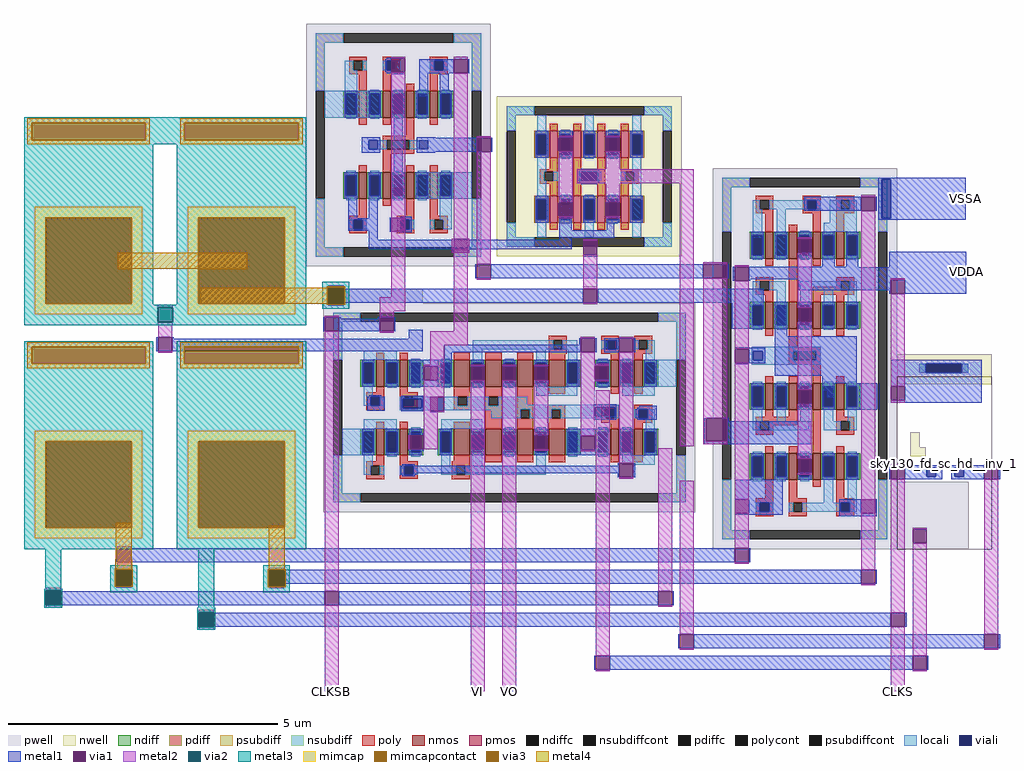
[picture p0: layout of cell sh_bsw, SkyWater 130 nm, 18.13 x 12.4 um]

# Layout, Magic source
magic
tech sky130A
magscale 1 2
<< nwell >>
rect 2591 -842 2637 -679
rect 3846 -1344 4198 -1232
rect 3894 -1578 3930 -1522
rect 3894 -1612 3952 -1578
<< pwell >>
rect 1727 -989 1795 -981
rect 2679 -989 2731 -981
rect 1727 -1041 2083 -989
rect 2679 -1041 2737 -989
rect 1727 -1049 1795 -1041
rect 1922 -1074 2000 -1041
rect 2679 -1047 2731 -1041
rect 1720 -1095 1772 -1089
rect 1714 -1147 1778 -1095
rect 1917 -1147 1981 -1095
rect 1720 -1153 1772 -1147
rect 1923 -1153 1975 -1147
rect 1837 -1223 1988 -1177
rect 2031 -1221 2083 -1142
rect 3162 -1470 3214 -1468
rect 3130 -1481 3220 -1470
rect 3130 -1482 3499 -1481
rect 3130 -1522 3526 -1482
rect 3130 -1568 3499 -1522
rect 3846 -1957 4112 -1706
<< nsubdiff >>
rect 3928 -1302 3952 -1268
rect 4086 -1302 4110 -1268
<< nsubdiffcont >>
rect 3952 -1302 4086 -1268
<< locali >>
rect 3928 -1302 3952 -1268
rect 4086 -1302 4110 -1268
<< viali >>
rect 3788 -727 3822 -583
rect 3952 -1302 4086 -1268
rect 3956 -1688 3990 -1654
rect 4059 -1688 4093 -1654
<< metal1 >>
rect 2061 -481 2284 -429
rect 2336 -481 2342 -429
rect 3776 -583 4101 -577
rect 2591 -808 2637 -679
rect 3776 -727 3788 -583
rect 3822 -727 4101 -583
rect 3776 -733 4101 -727
rect 2140 -842 2637 -808
rect 2679 -812 2731 -806
rect 2679 -870 2731 -864
rect 2278 -950 2284 -898
rect 2336 -950 3125 -898
rect 3214 -950 3220 -898
rect 3817 -909 4102 -852
rect 3480 -956 4102 -909
rect 1729 -1041 1735 -989
rect 1787 -1041 2679 -989
rect 2731 -1041 3350 -989
rect 3480 -996 3823 -956
rect 3817 -1008 3823 -996
rect 3875 -1008 4102 -956
rect 1714 -1147 1720 -1095
rect 1772 -1101 1778 -1095
rect 1917 -1101 1923 -1095
rect 1772 -1147 1923 -1101
rect 1975 -1147 1981 -1095
rect 1094 -1221 1100 -1169
rect 1152 -1175 1158 -1169
rect 2031 -1175 2083 -1142
rect 1152 -1221 2083 -1175
rect 3823 -1268 4160 -1254
rect 3823 -1302 3952 -1268
rect 4086 -1302 4160 -1268
rect 3823 -1352 4160 -1302
rect 3875 -1404 4160 -1352
rect 3823 -1413 4160 -1404
rect 2111 -1449 2163 -1443
rect 3130 -1556 3136 -1470
rect 3214 -1481 3220 -1470
rect 3214 -1556 3526 -1481
rect 3130 -1568 3526 -1556
rect 3817 -1698 3823 -1646
rect 3875 -1654 4014 -1646
rect 3875 -1688 3956 -1654
rect 3990 -1688 4014 -1654
rect 3875 -1698 4014 -1688
rect 4047 -1654 4170 -1646
rect 4047 -1688 4059 -1654
rect 4093 -1688 4170 -1654
rect 4047 -1698 4170 -1688
rect 4222 -1698 4228 -1646
rect 942 -2005 948 -1953
rect 1000 -2005 3242 -1953
rect 3294 -2005 3300 -1953
rect 1509 -2085 1515 -2033
rect 1567 -2085 3712 -2033
rect 3764 -2085 3770 -2033
rect 679 -2165 685 -2113
rect 737 -2165 1720 -2113
rect 1772 -2165 2958 -2113
rect 3010 -2165 3016 -2113
rect 1247 -2245 1253 -2193
rect 1305 -2245 3823 -2193
rect 3875 -2245 3881 -2193
rect 3032 -2325 3038 -2273
rect 3090 -2325 4170 -2273
rect 4222 -2325 4228 -2273
rect 2721 -2405 2727 -2353
rect 2779 -2405 3903 -2353
rect 3955 -2405 3961 -2353
<< via1 >>
rect 2284 -481 2336 -429
rect 2679 -864 2731 -812
rect 2284 -950 2336 -898
rect 3125 -950 3214 -898
rect 1735 -1041 1787 -989
rect 2679 -1041 2731 -989
rect 3823 -1008 3875 -956
rect 1720 -1147 1772 -1095
rect 1923 -1147 1975 -1095
rect 1100 -1221 1152 -1169
rect 2111 -1443 2163 -1391
rect 3823 -1404 3875 -1352
rect 3136 -1556 3214 -1470
rect 3823 -1698 3875 -1646
rect 4170 -1698 4222 -1646
rect 3903 -1935 3955 -1883
rect 948 -2005 1000 -1953
rect 3242 -2005 3294 -1953
rect 1515 -2085 1567 -2033
rect 3712 -2085 3764 -2033
rect 685 -2165 737 -2113
rect 1720 -2165 1772 -2113
rect 2958 -2165 3010 -2113
rect 1253 -2245 1305 -2193
rect 3823 -2245 3875 -2193
rect 3038 -2325 3090 -2273
rect 4170 -2325 4222 -2273
rect 2727 -2405 2779 -2353
rect 3903 -2405 3955 -2353
<< metal2 >>
rect 2284 -429 2336 -423
rect 1733 -987 1789 -977
rect 1967 -1022 2019 -665
rect 1098 -1058 1154 -1049
rect 1733 -1052 1789 -1043
rect 1923 -1074 2019 -1022
rect 1098 -1123 1154 -1114
rect 1720 -1095 1772 -1089
rect 1100 -1169 1152 -1123
rect 1100 -1227 1152 -1221
rect 948 -1953 1000 -1947
rect 948 -2026 1000 -2005
rect 945 -2035 1001 -2026
rect 945 -2100 1001 -2091
rect 1513 -2033 1569 -2027
rect 1513 -2037 1515 -2033
rect 1567 -2037 1569 -2033
rect 683 -2109 739 -2100
rect 1513 -2102 1569 -2093
rect 683 -2174 739 -2165
rect 1720 -2113 1772 -1147
rect 1923 -1095 1975 -1074
rect 2198 -1147 2250 -751
rect 2284 -898 2336 -481
rect 2657 -598 3090 -546
rect 2284 -956 2336 -950
rect 2679 -812 2731 -806
rect 2679 -989 2731 -864
rect 2679 -1047 2731 -1041
rect 1923 -1153 1975 -1147
rect 2111 -1199 2250 -1147
rect 2111 -1391 2163 -1199
rect 2111 -1449 2163 -1443
rect 1251 -2191 1307 -2182
rect 1251 -2256 1307 -2247
rect 1720 -2485 1772 -2165
rect 2261 -2485 2313 -1473
rect 2379 -2485 2431 -1448
rect 2727 -2353 2779 -1366
rect 3038 -1574 3090 -598
rect 3125 -898 3214 -892
rect 3125 -1470 3214 -950
rect 3823 -956 3875 -950
rect 3823 -1352 3875 -1008
rect 3823 -1413 3875 -1404
rect 3125 -1556 3136 -1470
rect 3125 -1568 3214 -1556
rect 2958 -2113 3010 -1583
rect 3823 -1646 3875 -1640
rect 2958 -2171 3010 -2165
rect 3038 -2273 3090 -1703
rect 3242 -1953 3294 -1707
rect 3242 -2011 3294 -2005
rect 3712 -2033 3764 -1720
rect 3712 -2091 3764 -2085
rect 3038 -2331 3090 -2325
rect 3823 -2193 3875 -1698
rect 4170 -1646 4222 -1640
rect 2727 -2411 2779 -2405
rect 3823 -2485 3875 -2245
rect 3903 -1883 3955 -1877
rect 3903 -2353 3955 -1935
rect 4170 -2273 4222 -1698
rect 4170 -2331 4222 -2325
rect 3903 -2411 3955 -2405
<< via2 >>
rect 1733 -989 1789 -987
rect 1733 -1041 1735 -989
rect 1735 -1041 1787 -989
rect 1787 -1041 1789 -989
rect 1733 -1043 1789 -1041
rect 1098 -1114 1154 -1058
rect 945 -2091 1001 -2035
rect 1513 -2085 1515 -2037
rect 1515 -2085 1567 -2037
rect 1567 -2085 1569 -2037
rect 1513 -2093 1569 -2085
rect 683 -2113 739 -2109
rect 683 -2165 685 -2113
rect 685 -2165 737 -2113
rect 737 -2165 739 -2113
rect 1251 -2193 1307 -2191
rect 1251 -2245 1253 -2193
rect 1253 -2245 1305 -2193
rect 1305 -2245 1307 -2193
rect 1251 -2247 1307 -2245
<< metal3 >>
rect 1710 -983 1810 -964
rect 1710 -1047 1729 -983
rect 1793 -1047 1810 -983
rect 1082 -1058 1170 -1049
rect 1082 -1114 1098 -1058
rect 1154 -1114 1170 -1058
rect 1710 -1064 1810 -1047
rect 1082 -1125 1170 -1114
rect 681 -2104 741 -1956
rect 923 -2031 1023 -2017
rect 923 -2095 941 -2031
rect 1005 -2095 1023 -2031
rect 678 -2109 744 -2104
rect 678 -2165 683 -2109
rect 739 -2165 744 -2109
rect 923 -2117 1023 -2095
rect 678 -2174 744 -2165
rect 1249 -2174 1309 -1945
rect 1490 -2033 1590 -2017
rect 1490 -2097 1509 -2033
rect 1573 -2097 1590 -2033
rect 1490 -2117 1590 -2097
rect 1246 -2191 1312 -2174
rect 1246 -2247 1251 -2191
rect 1307 -2247 1312 -2191
rect 1246 -2256 1312 -2247
<< via3 >>
rect 1729 -987 1793 -983
rect 1729 -1043 1733 -987
rect 1733 -1043 1789 -987
rect 1789 -1043 1793 -987
rect 1729 -1047 1793 -1043
rect 941 -2035 1005 -2031
rect 941 -2091 945 -2035
rect 945 -2091 1001 -2035
rect 1001 -2091 1005 -2035
rect 941 -2095 1005 -2091
rect 1509 -2037 1573 -2033
rect 1509 -2093 1513 -2037
rect 1513 -2093 1569 -2037
rect 1569 -2093 1573 -2037
rect 1509 -2097 1573 -2093
<< metal4 >>
rect 1727 -983 1795 -981
rect 1727 -985 1729 -983
rect 1256 -1045 1729 -985
rect 1727 -1047 1729 -1045
rect 1793 -1047 1795 -983
rect 1727 -1049 1795 -1047
rect 943 -1994 1003 -1861
rect 941 -2030 1005 -1994
rect 940 -2031 1006 -2030
rect 940 -2095 941 -2031
rect 1005 -2095 1006 -2031
rect 1511 -2032 1571 -1870
rect 940 -2096 1006 -2095
rect 1508 -2033 1574 -2032
rect 1508 -2097 1509 -2033
rect 1573 -2097 1574 -2033
rect 1508 -2098 1574 -2097
use cap_bsw  cap_bsw_1
transform 0 -1 516 1 0 -3419
box 1462 -1134 3066 -86
use ncell_bsw  ncell_bsw_1
transform 1 0 -1493 0 1 -281
box 4653 -1676 5339 -261
use ncell_bsw_dischrg  ncell_bsw_dischrg_1
transform -1 0 2198 0 -1 -1730
box -138 -1725 548 -824
use ncell_bsw_sw  ncell_bsw_sw_1
transform -1 0 2593 0 -1 -4705
box -503 -3662 879 -2886
use pcell_bsw_dischrg  pcell_bsw_dischrg_1
transform 1 0 1748 0 1 -420
box 611 -449 1297 145
use sky130_fd_sc_hd__inv_1  sky130_fd_sc_hd__inv_1_0 $PDKPATH/libs.ref/sky130_fd_sc_hd/mag
transform 1 0 3884 0 1 -1909
box -38 -48 314 592
<< labels >>
flabel metal1 s 4102 -926 4102 -926 0 FreeSans 480 0 0 0 VDDA
port 1 nsew
flabel metal2 s 3850 -2485 3850 -2485 0 FreeSans 480 0 0 0 CLKS
port 2 nsew
flabel metal2 s 1746 -2485 1746 -2485 0 FreeSans 480 0 0 0 CLKSB
port 3 nsew
flabel metal2 s 2287 -2485 2287 -2485 0 FreeSans 480 0 0 0 VI
port 4 nsew
flabel metal1 s 4101 -656 4101 -656 0 FreeSans 480 0 0 0 VSSA
port 5 nsew
flabel metal2 s 2405 -2485 2405 -2485 0 FreeSans 480 0 0 0 VO
port 6 nsew
<< end >>

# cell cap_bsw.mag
magic
tech sky130A
magscale 1 2
<< metal3 >>
rect 2966 -654 3066 -566
<< metal4 >>
rect 2504 -915 2564 -435
use sky130_fd_pr__cap_mim_m3_1_UCPR8Z  sky130_fd_pr__cap_mim_m3_1_UCPR8Z_0
transform 1 0 1848 0 1 -326
box -386 -240 386 240
use sky130_fd_pr__cap_mim_m3_1_VCTT89  sky130_fd_pr__cap_mim_m3_1_VCTT89_0
transform 1 0 2680 0 1 -894
box -386 -240 386 240
use sky130_fd_pr__cap_mim_m3_1_VCTT89  sky130_fd_pr__cap_mim_m3_1_VCTT89_1
transform 1 0 2680 0 1 -326
box -386 -240 386 240
use sky130_fd_pr__cap_mim_m3_1_VCTT89  XC2
transform 1 0 1848 0 1 -894
box -386 -240 386 240
<< labels >>
flabel metal4 s 1702 -326 1702 -326 0 FreeSans 320 0 0 0 VPBT1
port 1 nsew
flabel metal3 s 2038 -327 2038 -327 0 FreeSans 320 0 0 0 VNBT1
port 2 nsew
flabel metal4 s 1702 -894 1702 -894 0 FreeSans 320 0 0 0 VPBT2
port 3 nsew
flabel metal4 s 2534 -326 2534 -326 0 FreeSans 320 0 0 0 VPBT3
port 4 nsew
flabel metal3 s 2892 -326 2892 -326 0 FreeSans 320 0 0 0 VNBT3
port 5 nsew
flabel metal3 s 2023 -895 2023 -895 0 FreeSans 320 0 0 0 CLKS
port 6 nsew
<< end >>

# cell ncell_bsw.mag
magic
tech sky130A
magscale 1 2
<< pwell >>
rect 4653 -1676 5339 -261
<< psubdiff >>
rect 4689 -332 4791 -297
rect 5201 -332 5303 -297
rect 4689 -497 4723 -332
rect 5269 -497 5303 -332
rect 4689 -1605 4723 -1419
rect 5269 -1605 5303 -1419
rect 4689 -1640 4791 -1605
rect 5201 -1640 5303 -1605
<< psubdiffcont >>
rect 4791 -332 5201 -297
rect 4689 -1419 4723 -497
rect 5269 -1419 5303 -497
rect 4791 -1640 5201 -1605
<< poly >>
rect 4813 -379 4879 -363
rect 4813 -413 4829 -379
rect 4863 -413 4879 -379
rect 4813 -429 4879 -413
rect 4989 -379 5055 -363
rect 4989 -413 5005 -379
rect 5039 -413 5055 -379
rect 4989 -429 5055 -413
rect 4849 -471 4879 -429
rect 5025 -471 5055 -429
rect 5113 -379 5179 -363
rect 5113 -413 5129 -379
rect 5163 -413 5179 -379
rect 5113 -429 5179 -413
rect 5113 -471 5143 -429
rect 4813 -681 4879 -665
rect 4813 -715 4829 -681
rect 4863 -715 4879 -681
rect 4813 -731 4879 -715
rect 4937 -731 4967 -623
rect 5113 -681 5179 -665
rect 5113 -701 5129 -681
rect 5025 -715 5129 -701
rect 5163 -715 5179 -681
rect 5025 -731 5179 -715
rect 4937 -925 4967 -883
rect 4937 -940 5055 -925
rect 4937 -974 4953 -940
rect 5039 -974 5055 -940
rect 4937 -991 5055 -974
rect 5025 -1033 5055 -991
rect 4813 -1201 4967 -1185
rect 4813 -1235 4829 -1201
rect 4863 -1215 4967 -1201
rect 4863 -1235 4879 -1215
rect 4813 -1251 4879 -1235
rect 5025 -1293 5055 -1185
rect 5113 -1201 5179 -1185
rect 5113 -1235 5129 -1201
rect 5163 -1235 5179 -1201
rect 5113 -1251 5179 -1235
rect 4849 -1487 4879 -1419
rect 4813 -1503 4879 -1487
rect 4813 -1537 4829 -1503
rect 4863 -1537 4879 -1503
rect 4813 -1553 4879 -1537
rect 4937 -1487 4967 -1419
rect 5113 -1487 5143 -1419
rect 4937 -1503 5003 -1487
rect 4937 -1537 4953 -1503
rect 4987 -1537 5003 -1503
rect 4937 -1553 5003 -1537
rect 5113 -1503 5179 -1487
rect 5113 -1537 5129 -1503
rect 5163 -1537 5179 -1503
rect 5113 -1553 5179 -1537
<< polycont >>
rect 4829 -413 4863 -379
rect 5005 -413 5039 -379
rect 5129 -413 5163 -379
rect 4829 -715 4863 -681
rect 5129 -715 5163 -681
rect 4953 -974 5039 -940
rect 4829 -1235 4863 -1201
rect 5129 -1235 5163 -1201
rect 4829 -1537 4863 -1503
rect 4953 -1537 4987 -1503
rect 5129 -1537 5163 -1503
<< locali >>
rect 4689 -332 4791 -297
rect 5201 -332 5303 -297
rect 4689 -497 4723 -332
rect 4803 -413 4829 -379
rect 4863 -413 5005 -379
rect 5039 -413 5055 -379
rect 5089 -413 5129 -379
rect 5163 -413 5189 -379
rect 4803 -519 4837 -413
rect 4891 -598 4925 -413
rect 5089 -463 5189 -413
rect 5067 -493 5189 -463
rect 5089 -497 5189 -493
rect 5269 -497 5303 -332
rect 4803 -715 4829 -681
rect 4863 -715 4925 -681
rect 4803 -757 4837 -715
rect 4891 -758 4925 -715
rect 4979 -715 5129 -681
rect 5163 -715 5189 -681
rect 4979 -754 5013 -715
rect 5067 -766 5101 -715
rect 5155 -757 5189 -715
rect 4798 -940 5055 -924
rect 4798 -974 4805 -940
rect 4839 -974 4953 -940
rect 5039 -974 5055 -940
rect 4798 -991 5055 -974
rect 4803 -1201 4837 -1163
rect 4891 -1201 4925 -1163
rect 4979 -1201 5013 -1163
rect 4803 -1235 4829 -1201
rect 4863 -1235 5013 -1201
rect 5067 -1201 5101 -1163
rect 5155 -1201 5189 -1163
rect 5067 -1235 5129 -1201
rect 5163 -1235 5189 -1201
rect 4689 -1605 4723 -1419
rect 5067 -1503 5101 -1417
rect 5155 -1503 5189 -1417
rect 4813 -1537 4829 -1503
rect 4863 -1537 4879 -1503
rect 4937 -1537 4953 -1503
rect 4987 -1537 5129 -1503
rect 5163 -1537 5189 -1503
rect 5269 -1605 5303 -1419
rect 4689 -1640 4791 -1605
rect 5201 -1640 5303 -1605
<< viali >>
rect 5005 -413 5039 -379
rect 4805 -974 4839 -940
rect 4829 -1537 4863 -1503
rect 5129 -1537 5163 -1503
<< metal1 >>
rect 4993 -379 5205 -366
rect 4993 -413 5005 -379
rect 5039 -413 5205 -379
rect 4993 -418 5205 -413
rect 5257 -418 5263 -366
rect 4993 -419 5045 -418
rect 4970 -523 5022 -517
rect 4970 -581 5022 -575
rect 5061 -627 5107 -586
rect 5149 -627 5195 -597
rect 4729 -679 4735 -627
rect 4787 -673 5195 -627
rect 4787 -679 4793 -673
rect 4725 -857 4797 -757
rect 4924 -762 4931 -757
rect 4885 -885 4931 -762
rect 4970 -779 5022 -773
rect 4970 -837 5022 -831
rect 4735 -928 4787 -925
rect 4735 -931 4849 -928
rect 4787 -940 4849 -931
rect 4787 -974 4805 -940
rect 4839 -974 4849 -940
rect 4787 -983 4849 -974
rect 4735 -986 4849 -983
rect 4735 -989 4787 -986
rect 4885 -1031 5189 -885
rect 5061 -1059 5189 -1031
rect 4970 -1084 5022 -1078
rect 5061 -1085 5107 -1059
rect 5079 -1112 5107 -1085
rect 4970 -1142 5022 -1136
rect 5195 -1159 5265 -1059
rect 4970 -1341 5022 -1335
rect 4970 -1399 5022 -1393
rect 4735 -1491 4913 -1419
rect 4787 -1503 4913 -1491
rect 4787 -1537 4829 -1503
rect 4863 -1537 4913 -1503
rect 4787 -1543 4913 -1537
rect 4735 -1549 4913 -1543
rect 5123 -1503 5205 -1491
rect 5123 -1537 5129 -1503
rect 5163 -1537 5205 -1503
rect 5123 -1543 5205 -1537
rect 5257 -1543 5263 -1491
rect 5123 -1553 5263 -1543
<< via1 >>
rect 5205 -418 5257 -366
rect 4970 -575 5022 -523
rect 4735 -679 4787 -627
rect 4970 -831 5022 -779
rect 4735 -983 4787 -931
rect 4970 -1136 5022 -1084
rect 4970 -1393 5022 -1341
rect 4735 -1543 4787 -1491
rect 5205 -1543 5257 -1491
<< metal2 >>
rect 5205 -366 5257 -360
rect 4970 -523 5022 -517
rect 4735 -627 4787 -621
rect 4735 -931 4787 -679
rect 4735 -1491 4787 -983
rect 4970 -779 5022 -575
rect 4970 -1084 5022 -831
rect 4970 -1341 5022 -1136
rect 4970 -1399 5022 -1393
rect 4735 -1549 4787 -1543
rect 5205 -1491 5257 -418
rect 5205 -1549 5257 -1543
use sky130_fd_pr__nfet_01v8_6J3TAM  sky130_fd_pr__nfet_01v8_6J3TAM_0
transform 1 0 5128 0 1 -807
box -73 -76 73 76
use sky130_fd_pr__nfet_01v8_6J3TAM  sky130_fd_pr__nfet_01v8_6J3TAM_1
transform 1 0 4952 0 1 -547
box -73 -76 73 76
use sky130_fd_pr__nfet_01v8_6J3TAM  sky130_fd_pr__nfet_01v8_6J3TAM_2
transform 1 0 5040 0 1 -547
box -73 -76 73 76
use sky130_fd_pr__nfet_01v8_6J3TAM  sky130_fd_pr__nfet_01v8_6J3TAM_3
transform 1 0 4864 0 1 -547
box -73 -76 73 76
use sky130_fd_pr__nfet_01v8_6J3TAM  sky130_fd_pr__nfet_01v8_6J3TAM_4
transform 1 0 5128 0 1 -1109
box -73 -76 73 76
use sky130_fd_pr__nfet_01v8_6J3TAM  sky130_fd_pr__nfet_01v8_6J3TAM_5
transform 1 0 4952 0 1 -807
box -73 -76 73 76
use sky130_fd_pr__nfet_01v8_6J3TAM  sky130_fd_pr__nfet_01v8_6J3TAM_6
transform 1 0 5040 0 1 -807
box -73 -76 73 76
use sky130_fd_pr__nfet_01v8_6J3TAM  sky130_fd_pr__nfet_01v8_6J3TAM_7
transform 1 0 4864 0 1 -807
box -73 -76 73 76
use sky130_fd_pr__nfet_01v8_6J3TAM  sky130_fd_pr__nfet_01v8_6J3TAM_8
transform 1 0 4864 0 1 -1109
box -73 -76 73 76
use sky130_fd_pr__nfet_01v8_6J3TAM  sky130_fd_pr__nfet_01v8_6J3TAM_9
transform 1 0 4952 0 1 -1109
box -73 -76 73 76
use sky130_fd_pr__nfet_01v8_6J3TAM  sky130_fd_pr__nfet_01v8_6J3TAM_10
transform 1 0 5040 0 1 -1109
box -73 -76 73 76
use sky130_fd_pr__nfet_01v8_6J3TAM  sky130_fd_pr__nfet_01v8_6J3TAM_11
transform 1 0 5128 0 1 -547
box -73 -76 73 76
use sky130_fd_pr__nfet_01v8_6J3TAM  sky130_fd_pr__nfet_01v8_6J3TAM_12
transform -1 0 4952 0 -1 -1369
box -73 -76 73 76
use sky130_fd_pr__nfet_01v8_6J3TAM  sky130_fd_pr__nfet_01v8_6J3TAM_13
transform -1 0 5040 0 -1 -1369
box -73 -76 73 76
use sky130_fd_pr__nfet_01v8_6J3TAM  sky130_fd_pr__nfet_01v8_6J3TAM_14
transform -1 0 5128 0 -1 -1369
box -73 -76 73 76
use sky130_fd_pr__nfet_01v8_6J3TAM  sky130_fd_pr__nfet_01v8_6J3TAM_15
transform -1 0 4864 0 -1 -1369
box -73 -76 73 76
<< labels >>
flabel metal2 s 4996 -1018 4996 -1018 0 FreeSans 320 0 0 0 VDDA
port 1 nsew
flabel locali s 4997 -313 4997 -313 0 FreeSans 320 0 0 0 VSSA
port 5 nsew
flabel metal2 s 4761 -1018 4761 -1018 0 FreeSans 320 0 0 0 VPBT1
port 2 nsew
flabel metal2 s 5232 -1018 5232 -1018 0 FreeSans 320 0 0 0 VPBT2
port 3 nsew
flabel metal1 s 4727 -810 4727 -810 0 FreeSans 320 0 0 0 VPBT3
port 4 nsew
<< end >>

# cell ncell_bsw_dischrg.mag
magic
tech sky130A
magscale 1 2
<< pwell >>
rect -138 -1725 548 -824
<< ndiff >>
rect 179 -1156 231 -1092
<< psubdiff >>
rect -102 -894 0 -860
rect 410 -894 512 -860
rect -102 -1074 -68 -894
rect 478 -1074 512 -894
rect -102 -1655 -68 -1476
rect 478 -1655 512 -1476
rect -102 -1689 0 -1655
rect 410 -1689 512 -1655
<< psubdiffcont >>
rect 0 -894 410 -860
rect -102 -1476 -68 -1074
rect 478 -1476 512 -1074
rect 0 -1689 410 -1655
<< poly >>
rect 22 -962 88 -946
rect 22 -996 38 -962
rect 72 -996 88 -962
rect 22 -1012 88 -996
rect 58 -1048 88 -1012
rect 146 -962 212 -946
rect 146 -996 162 -962
rect 196 -996 212 -962
rect 146 -1012 212 -996
rect 322 -962 388 -946
rect 322 -996 338 -962
rect 372 -996 388 -962
rect 322 -1012 388 -996
rect 146 -1048 176 -1012
rect 322 -1048 352 -1012
rect 234 -1242 264 -1199
rect 146 -1258 264 -1242
rect 146 -1292 162 -1258
rect 248 -1292 264 -1258
rect 146 -1308 264 -1292
rect 146 -1350 176 -1308
rect 58 -1538 88 -1476
rect 234 -1538 264 -1502
rect 22 -1553 88 -1538
rect 22 -1587 38 -1553
rect 72 -1587 88 -1553
rect 22 -1603 88 -1587
rect 198 -1553 264 -1538
rect 198 -1587 214 -1553
rect 248 -1587 264 -1553
rect 198 -1603 264 -1587
rect 322 -1538 352 -1476
rect 322 -1553 388 -1538
rect 322 -1587 338 -1553
rect 372 -1587 388 -1553
rect 322 -1603 388 -1587
<< polycont >>
rect 38 -996 72 -962
rect 162 -996 196 -962
rect 338 -996 372 -962
rect 162 -1292 248 -1258
rect 38 -1587 72 -1553
rect 214 -1587 248 -1553
rect 338 -1587 372 -1553
<< locali >>
rect -102 -894 0 -860
rect 410 -894 512 -860
rect -102 -1074 -68 -894
rect 6 -996 38 -962
rect 72 -996 88 -962
rect 146 -996 162 -962
rect 196 -996 212 -962
rect 322 -996 338 -962
rect 372 -996 388 -962
rect 6 -1074 52 -996
rect 478 -1074 512 -894
rect -68 -1174 140 -1074
rect 128 -1292 162 -1258
rect 248 -1292 282 -1258
rect 270 -1476 478 -1376
rect -102 -1655 -68 -1476
rect 358 -1553 404 -1476
rect 22 -1587 38 -1553
rect 72 -1587 88 -1553
rect 198 -1587 214 -1553
rect 248 -1587 264 -1553
rect 322 -1587 338 -1553
rect 372 -1587 404 -1553
rect 478 -1655 512 -1476
rect -102 -1689 0 -1655
rect 410 -1689 512 -1655
<< viali >>
rect 162 -996 196 -962
rect 338 -996 372 -962
rect 94 -1292 128 -1258
rect 282 -1292 316 -1258
rect 38 -1587 72 -1553
rect 214 -1587 248 -1553
<< metal1 >>
rect -58 -927 -52 -875
rect 0 -888 6 -875
rect 0 -922 316 -888
rect 0 -927 6 -922
rect 156 -953 198 -950
rect 156 -962 179 -953
rect 156 -996 162 -962
rect 156 -1005 179 -996
rect 231 -1005 237 -953
rect 282 -955 316 -922
rect 282 -962 392 -955
rect 282 -996 338 -962
rect 372 -996 392 -962
rect 282 -1002 392 -996
rect 156 -1008 198 -1005
rect 282 -1074 316 -1002
rect 358 -1074 392 -1002
rect 68 -1258 137 -1246
rect 68 -1292 94 -1258
rect 128 -1292 137 -1258
rect 68 -1304 137 -1292
rect 188 -1376 222 -1118
rect 273 -1258 342 -1246
rect 273 -1292 282 -1258
rect 316 -1292 342 -1258
rect 273 -1304 342 -1292
rect 18 -1541 52 -1464
rect 94 -1541 128 -1455
rect -58 -1593 -52 -1541
rect 0 -1553 128 -1541
rect 0 -1587 38 -1553
rect 72 -1587 128 -1553
rect 0 -1593 128 -1587
rect 179 -1541 231 -1538
rect 179 -1544 248 -1541
rect 231 -1547 248 -1544
rect 231 -1553 254 -1547
rect 248 -1587 254 -1553
rect 231 -1593 254 -1587
rect 231 -1596 248 -1593
rect 179 -1599 248 -1596
rect 179 -1602 231 -1599
<< via1 >>
rect -52 -927 0 -875
rect 179 -962 231 -953
rect 179 -996 196 -962
rect 196 -996 231 -962
rect 179 -1005 231 -996
rect -52 -1593 0 -1541
rect 179 -1553 231 -1544
rect 179 -1587 214 -1553
rect 214 -1587 231 -1553
rect 179 -1596 231 -1587
<< metal2 >>
rect -58 -927 -52 -875
rect 0 -927 6 -875
rect -52 -1541 0 -927
rect -52 -1602 0 -1593
rect 179 -953 231 -947
rect 179 -1544 231 -1005
rect 179 -1602 231 -1596
use sky130_fd_pr__nfet_01v8_6J3TAM  sky130_fd_pr__nfet_01v8_6J3TAM_0
transform 1 0 337 0 1 -1124
box -73 -76 73 76
use sky130_fd_pr__nfet_01v8_6J3TAM  sky130_fd_pr__nfet_01v8_6J3TAM_1
transform 1 0 73 0 1 -1124
box -73 -76 73 76
use sky130_fd_pr__nfet_01v8_6J3TAM  sky130_fd_pr__nfet_01v8_6J3TAM_2
transform 1 0 161 0 1 -1124
box -73 -76 73 76
use sky130_fd_pr__nfet_01v8_6J3TAM  sky130_fd_pr__nfet_01v8_6J3TAM_3
transform 1 0 249 0 1 -1124
box -73 -76 73 76
use sky130_fd_pr__nfet_01v8_6J3TAM  sky130_fd_pr__nfet_01v8_6J3TAM_4
transform 1 0 73 0 1 -1426
box -73 -76 73 76
use sky130_fd_pr__nfet_01v8_6J3TAM  sky130_fd_pr__nfet_01v8_6J3TAM_5
transform 1 0 161 0 1 -1426
box -73 -76 73 76
use sky130_fd_pr__nfet_01v8_6J3TAM  sky130_fd_pr__nfet_01v8_6J3TAM_6
transform 1 0 249 0 1 -1426
box -73 -76 73 76
use sky130_fd_pr__nfet_01v8_6J3TAM  sky130_fd_pr__nfet_01v8_6J3TAM_7
transform 1 0 337 0 1 -1426
box -73 -76 73 76
<< labels >>
flabel locali s 203 -1672 203 -1672 0 FreeSans 160 0 0 0 VSSA
port 4 nsew
flabel metal2 s -26 -1219 -26 -1219 0 FreeSans 160 0 0 0 VBOOT
port 3 nsew
flabel metal1 s 105 -1276 106 -1276 0 FreeSans 160 0 0 0 VDDA
port 1 nsew
flabel metal2 s 208 -979 209 -979 0 FreeSans 160 0 0 0 CLKSB
port 2 nsew
<< end >>

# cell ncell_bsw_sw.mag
magic
tech sky130A
magscale 1 2
<< pwell >>
rect -503 -3662 879 -2886
<< ndiff >>
rect -186 -3172 -134 -3120
rect 598 -3172 650 -3120
rect 510 -3427 562 -3375
<< psubdiff >>
rect -467 -2956 -365 -2922
rect 741 -2956 843 -2922
rect -467 -3096 -433 -2956
rect 809 -3096 843 -2956
rect -467 -3592 -433 -3452
rect 809 -3592 843 -3452
rect -467 -3626 -365 -3592
rect 741 -3626 843 -3592
<< psubdiffcont >>
rect -365 -2956 741 -2922
rect -467 -3452 -433 -3096
rect 809 -3452 843 -3096
rect -365 -3626 741 -3592
<< poly >>
rect 335 -3024 401 -3008
rect 335 -3058 351 -3024
rect 385 -3058 401 -3024
rect 335 -3074 401 -3058
rect 529 -3024 595 -3009
rect 529 -3058 545 -3024
rect 579 -3058 595 -3024
rect 529 -3075 595 -3058
rect 653 -3024 719 -3008
rect 653 -3058 669 -3024
rect 703 -3058 719 -3024
rect 653 -3074 719 -3058
rect -343 -3234 -277 -3218
rect -343 -3268 -327 -3234
rect -293 -3268 -277 -3234
rect -343 -3284 -277 -3268
rect -219 -3234 -153 -3218
rect -219 -3268 -203 -3234
rect -169 -3268 -153 -3234
rect -219 -3284 -153 -3268
rect -19 -3234 47 -3218
rect -19 -3268 -3 -3234
rect 31 -3268 47 -3234
rect -19 -3284 47 -3268
rect 99 -3234 159 -3222
rect 99 -3268 112 -3234
rect 146 -3268 159 -3234
rect 99 -3326 159 -3268
rect 217 -3280 277 -3222
rect 217 -3314 230 -3280
rect 264 -3314 277 -3280
rect 217 -3326 277 -3314
rect 329 -3280 395 -3264
rect 329 -3314 345 -3280
rect 379 -3314 395 -3280
rect 329 -3330 395 -3314
rect 529 -3280 595 -3264
rect 529 -3314 545 -3280
rect 579 -3314 595 -3280
rect 529 -3330 595 -3314
rect 653 -3280 719 -3264
rect 653 -3314 669 -3280
rect 703 -3314 719 -3280
rect 653 -3330 719 -3314
rect -343 -3490 -277 -3474
rect -343 -3524 -327 -3490
rect -293 -3524 -277 -3490
rect -343 -3540 -277 -3524
rect -219 -3490 -153 -3474
rect -219 -3524 -203 -3490
rect -169 -3524 -153 -3490
rect -219 -3540 -153 -3524
rect -25 -3490 41 -3474
rect -25 -3524 -9 -3490
rect 25 -3524 41 -3490
rect -25 -3540 41 -3524
<< polycont >>
rect 351 -3058 385 -3024
rect 545 -3058 579 -3024
rect 669 -3058 703 -3024
rect -327 -3268 -293 -3234
rect -203 -3268 -169 -3234
rect -3 -3268 31 -3234
rect 112 -3268 146 -3234
rect 230 -3314 264 -3280
rect 345 -3314 379 -3280
rect 545 -3314 579 -3280
rect 669 -3314 703 -3280
rect -327 -3524 -293 -3490
rect -203 -3524 -169 -3490
rect -9 -3524 25 -3490
<< locali >>
rect -467 -2956 -365 -2922
rect 741 -2956 843 -2922
rect -467 -3096 -433 -2956
rect 53 -3058 351 -3024
rect 385 -3058 441 -3024
rect 529 -3058 545 -3024
rect 579 -3058 595 -3024
rect 653 -3058 669 -3024
rect 703 -3058 729 -3024
rect -353 -3096 -231 -3062
rect 53 -3095 87 -3058
rect 289 -3108 323 -3058
rect 407 -3108 441 -3058
rect 695 -3095 729 -3058
rect 809 -3096 843 -2956
rect 689 -3196 809 -3096
rect -353 -3234 -319 -3199
rect 289 -3230 441 -3196
rect 607 -3230 729 -3196
rect -353 -3268 -327 -3234
rect -293 -3268 -277 -3234
rect -219 -3275 -203 -3234
rect -169 -3241 -3 -3234
rect -132 -3268 -3 -3241
rect 31 -3268 112 -3234
rect 146 -3264 255 -3234
rect 146 -3268 595 -3264
rect -132 -3272 595 -3268
rect -132 -3275 513 -3272
rect -219 -3280 513 -3275
rect -219 -3284 230 -3280
rect 121 -3314 230 -3284
rect 264 -3314 345 -3280
rect 379 -3306 513 -3280
rect 584 -3306 595 -3272
rect 379 -3314 545 -3306
rect 579 -3314 595 -3306
rect 653 -3314 669 -3280
rect 703 -3314 729 -3280
rect -353 -3352 -231 -3318
rect -65 -3352 87 -3318
rect 695 -3349 729 -3314
rect -433 -3452 -313 -3352
rect -467 -3592 -433 -3452
rect -353 -3490 -319 -3456
rect -65 -3490 -31 -3456
rect 53 -3490 87 -3456
rect 289 -3490 323 -3456
rect 607 -3486 729 -3452
rect -353 -3524 -327 -3490
rect -293 -3524 -277 -3490
rect -219 -3524 -211 -3490
rect -169 -3524 -153 -3490
rect -65 -3524 -9 -3490
rect 25 -3524 323 -3490
rect 809 -3592 843 -3452
rect -467 -3626 -365 -3592
rect 741 -3626 843 -3592
<< viali >>
rect 545 -3058 579 -3024
rect -327 -3268 -293 -3234
rect -203 -3268 -169 -3241
rect -169 -3268 -132 -3241
rect -203 -3275 -132 -3268
rect 513 -3280 584 -3272
rect 513 -3306 545 -3280
rect 545 -3306 579 -3280
rect 579 -3306 584 -3280
rect 669 -3314 703 -3280
rect -211 -3524 -203 -3490
rect -203 -3524 -177 -3490
<< metal1 >>
rect -279 -3068 -273 -3016
rect -221 -3030 -215 -3016
rect 539 -3024 585 -3018
rect 533 -3030 545 -3024
rect -221 -3058 545 -3030
rect 579 -3058 591 -3024
rect -221 -3068 -215 -3058
rect 539 -3064 585 -3058
rect -183 -3114 -25 -3096
rect -186 -3118 -25 -3114
rect -186 -3170 -130 -3118
rect -78 -3170 -25 -3118
rect -186 -3178 -25 -3170
rect 44 -3120 96 -3114
rect 44 -3178 96 -3172
rect 162 -3120 214 -3114
rect 162 -3178 214 -3172
rect 280 -3120 332 -3114
rect 280 -3178 332 -3172
rect 506 -3120 562 -3114
rect 558 -3172 562 -3120
rect 506 -3178 562 -3172
rect -183 -3196 -25 -3178
rect -359 -3234 -287 -3228
rect -359 -3268 -327 -3234
rect -293 -3268 -281 -3234
rect -209 -3241 -126 -3229
rect -359 -3274 -287 -3268
rect -359 -3280 -295 -3274
rect -209 -3275 -203 -3241
rect -132 -3275 -126 -3241
rect -209 -3287 -126 -3275
rect 507 -3272 590 -3260
rect 507 -3306 513 -3272
rect 584 -3306 590 -3272
rect 507 -3318 590 -3306
rect 651 -3280 715 -3262
rect 651 -3314 669 -3280
rect 703 -3314 715 -3280
rect 663 -3320 709 -3314
rect -182 -3378 -130 -3372
rect -182 -3436 -130 -3430
rect 44 -3375 96 -3369
rect 44 -3433 96 -3427
rect 162 -3375 214 -3369
rect 162 -3433 214 -3427
rect 280 -3375 283 -3369
rect 311 -3375 332 -3369
rect 280 -3433 332 -3427
rect 401 -3375 559 -3352
rect 401 -3427 454 -3375
rect 506 -3427 559 -3375
rect 401 -3452 559 -3427
rect 401 -3480 429 -3452
rect -279 -3532 -273 -3480
rect -221 -3490 -165 -3480
rect -221 -3524 -211 -3490
rect -177 -3524 -165 -3490
rect -221 -3532 -165 -3524
rect -136 -3532 -130 -3480
rect -78 -3508 429 -3480
rect -78 -3532 -72 -3508
<< via1 >>
rect -273 -3068 -221 -3016
rect -130 -3170 -78 -3118
rect 44 -3172 96 -3120
rect 162 -3172 214 -3120
rect 280 -3172 332 -3120
rect 506 -3172 558 -3120
rect -182 -3430 -130 -3378
rect 44 -3427 96 -3375
rect 162 -3427 214 -3375
rect 280 -3427 332 -3375
rect 454 -3427 506 -3375
rect -273 -3532 -221 -3480
rect -130 -3532 -78 -3480
<< metal2 >>
rect -273 -3016 -221 -3010
rect -273 -3480 -221 -3068
rect -130 -3118 -78 -3112
rect -130 -3372 -78 -3170
rect -182 -3378 -78 -3372
rect -130 -3430 -78 -3378
rect -182 -3436 -78 -3430
rect 44 -3120 96 -3114
rect 44 -3375 96 -3172
rect 44 -3433 96 -3427
rect 162 -3120 214 -3114
rect 162 -3375 214 -3172
rect 162 -3433 214 -3427
rect 280 -3120 332 -3114
rect 280 -3375 332 -3172
rect 280 -3433 332 -3427
rect 454 -3375 506 -3120
rect 558 -3172 564 -3120
rect 454 -3433 506 -3427
rect -273 -3538 -221 -3532
rect -130 -3480 -78 -3436
rect -130 -3538 -78 -3532
use sky130_fd_pr__nfet_01v8_6J3TAM  sky130_fd_pr__nfet_01v8_6J3TAM_0
transform 1 0 -204 0 1 -3146
box -73 -76 73 76
use sky130_fd_pr__nfet_01v8_6J3TAM  sky130_fd_pr__nfet_01v8_6J3TAM_1
transform 1 0 580 0 1 -3402
box -73 -76 73 76
use sky130_fd_pr__nfet_01v8_6J3TAM  sky130_fd_pr__nfet_01v8_6J3TAM_2
transform 1 0 -204 0 1 -3402
box -73 -76 73 76
use sky130_fd_pr__nfet_01v8_6J3TAM  sky130_fd_pr__nfet_01v8_6J3TAM_3
transform 1 0 580 0 1 -3146
box -73 -76 73 76
use sky130_fd_pr__nfet_01v8_6J3TAM  sky130_fd_pr__nfet_01v8_6J3TAM_4
transform 1 0 668 0 1 -3146
box -73 -76 73 76
use sky130_fd_pr__nfet_01v8_6J3TAM  sky130_fd_pr__nfet_01v8_6J3TAM_5
transform 1 0 -292 0 1 -3402
box -73 -76 73 76
use sky130_fd_pr__nfet_01v8_6J3TAM  sky130_fd_pr__nfet_01v8_6J3TAM_6
transform 1 0 668 0 1 -3402
box -73 -76 73 76
use sky130_fd_pr__nfet_01v8_6J3TAM  sky130_fd_pr__nfet_01v8_6J3TAM_10
transform 1 0 -292 0 1 -3146
box -73 -76 73 76
use sky130_fd_pr__nfet_01v8_QS6TK8  sky130_fd_pr__nfet_01v8_QS6TK8_0
transform 1 0 11 0 1 -3146
box -88 -76 88 76
use sky130_fd_pr__nfet_01v8_QS6TK8  sky130_fd_pr__nfet_01v8_QS6TK8_1
transform 1 0 129 0 1 -3146
box -88 -76 88 76
use sky130_fd_pr__nfet_01v8_QS6TK8  sky130_fd_pr__nfet_01v8_QS6TK8_2
transform 1 0 247 0 1 -3146
box -88 -76 88 76
use sky130_fd_pr__nfet_01v8_QS6TK8  sky130_fd_pr__nfet_01v8_QS6TK8_3
transform 1 0 365 0 1 -3402
box -88 -76 88 76
use sky130_fd_pr__nfet_01v8_QS6TK8  sky130_fd_pr__nfet_01v8_QS6TK8_4
transform 1 0 365 0 1 -3146
box -88 -76 88 76
use sky130_fd_pr__nfet_01v8_QS6TK8  sky130_fd_pr__nfet_01v8_QS6TK8_5
transform 1 0 11 0 1 -3402
box -88 -76 88 76
use sky130_fd_pr__nfet_01v8_QS6TK8  sky130_fd_pr__nfet_01v8_QS6TK8_6
transform 1 0 129 0 1 -3402
box -88 -76 88 76
use sky130_fd_pr__nfet_01v8_QS6TK8  sky130_fd_pr__nfet_01v8_QS6TK8_7
transform 1 0 247 0 1 -3402
box -88 -76 88 76
<< labels >>
flabel metal2 s 71 -3290 71 -3290 0 FreeSans 320 0 0 0 VI
port 1 nsew
flabel metal1 s -188 -3255 -188 -3255 0 FreeSans 320 0 0 0 VBOOT
port 2 nsew
flabel metal2 s -104 -3331 -104 -3331 0 FreeSans 320 0 0 0 VNBT3
port 4 nsew
flabel metal1 s -342 -3252 -342 -3252 0 FreeSans 320 0 0 0 SWITCHING
port 5 nsew
flabel metal1 s 684 -3298 684 -3298 0 FreeSans 320 0 0 0 SWITCHING
flabel locali s 184 -2937 184 -2937 0 FreeSans 320 0 0 0 VSSA
port 6 nsew
flabel metal1 s -115 -3042 -115 -3042 0 FreeSans 320 0 0 0 VNBT1
port 3 nsew
flabel metal2 s 187 -3329 187 -3329 0 FreeSans 320 0 0 0 VO
port 7 nsew
<< end >>

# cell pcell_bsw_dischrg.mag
magic
tech sky130A
magscale 1 2
<< nwell >>
rect 611 -449 1297 145
<< nsubdiff >>
rect 647 75 749 109
rect 1159 75 1261 109
rect 647 17 681 75
rect 1227 17 1261 75
rect 647 -379 681 -325
rect 1227 -379 1261 -325
rect 647 -413 749 -379
rect 1159 -413 1261 -379
<< nsubdiffcont >>
rect 749 75 1159 109
rect 647 -325 681 17
rect 1227 -325 1261 17
rect 749 -413 1159 -379
<< poly >>
rect 807 -125 837 -109
rect 771 -135 837 -125
rect 771 -169 787 -135
rect 821 -169 837 -135
rect 771 -179 837 -169
rect 807 -199 837 -179
rect 895 -125 925 -109
rect 983 -125 1013 -109
rect 895 -135 1013 -125
rect 895 -169 925 -135
rect 983 -169 1013 -135
rect 895 -179 1013 -169
rect 895 -199 925 -179
rect 983 -199 1013 -179
rect 1071 -125 1101 -109
rect 1071 -135 1137 -125
rect 1071 -169 1087 -135
rect 1121 -169 1137 -135
rect 1071 -179 1137 -169
rect 1071 -199 1101 -179
<< polycont >>
rect 787 -169 821 -135
rect 925 -169 983 -135
rect 1087 -169 1121 -135
<< locali >>
rect 647 75 749 109
rect 1159 75 1261 109
rect 647 17 681 75
rect 761 21 795 75
rect 937 21 971 75
rect 1113 21 1147 75
rect 1227 17 1261 75
rect 761 -135 795 -87
rect 1113 -135 1147 -86
rect 761 -169 787 -135
rect 821 -169 837 -135
rect 909 -169 925 -135
rect 983 -169 999 -135
rect 1071 -169 1087 -135
rect 1121 -169 1147 -135
rect 761 -222 795 -169
rect 647 -379 681 -325
rect 761 -379 795 -327
rect 937 -379 971 -326
rect 1113 -379 1147 -169
rect 1227 -379 1261 -325
rect 647 -413 749 -379
rect 1159 -413 1261 -379
<< viali >>
rect 925 -169 983 -135
<< metal1 >>
rect 864 -1 892 17
rect 840 -7 892 -1
rect 840 -65 843 -59
rect 889 -65 892 -59
rect 1016 -1 1044 17
rect 1016 -7 1068 -1
rect 1016 -65 1068 -59
rect 925 -126 983 -123
rect 917 -135 991 -126
rect 917 -169 925 -135
rect 983 -169 991 -135
rect 917 -178 991 -169
rect 925 -181 983 -178
rect 840 -249 892 -243
rect 840 -307 892 -301
rect 1016 -249 1068 -243
rect 1016 -307 1068 -301
rect 861 -353 889 -320
rect 1019 -353 1047 -320
rect 861 -381 1047 -353
<< via1 >>
rect 840 -59 892 -7
rect 1016 -59 1068 -7
rect 840 -301 892 -249
rect 1016 -301 1068 -249
<< metal2 >>
rect 840 -7 892 -1
rect 840 -249 892 -59
rect 840 -307 892 -301
rect 1016 -7 1068 -1
rect 1016 -249 1068 -59
rect 1016 -307 1068 -301
use sky130_fd_pr__pfet_01v8_275TTJ  sky130_fd_pr__pfet_01v8_275TTJ_0
transform 1 0 910 0 1 -33
box -109 -112 109 112
use sky130_fd_pr__pfet_01v8_275TTJ  sky130_fd_pr__pfet_01v8_275TTJ_1
transform 1 0 998 0 1 -275
box -109 -112 109 112
use sky130_fd_pr__pfet_01v8_275TTJ  sky130_fd_pr__pfet_01v8_275TTJ_2
transform 1 0 910 0 1 -275
box -109 -112 109 112
use sky130_fd_pr__pfet_01v8_275TTJ  sky130_fd_pr__pfet_01v8_275TTJ_3
transform 1 0 822 0 1 -33
box -109 -112 109 112
use sky130_fd_pr__pfet_01v8_275TTJ  sky130_fd_pr__pfet_01v8_275TTJ_4
transform 1 0 1086 0 1 -33
box -109 -112 109 112
use sky130_fd_pr__pfet_01v8_275TTJ  sky130_fd_pr__pfet_01v8_275TTJ_6
transform 1 0 822 0 1 -275
box -109 -112 109 112
use sky130_fd_pr__pfet_01v8_275TTJ  sky130_fd_pr__pfet_01v8_275TTJ_7
transform 1 0 998 0 1 -33
box -109 -112 109 112
use sky130_fd_pr__pfet_01v8_275TTJ  sky130_fd_pr__pfet_01v8_275TTJ_8
transform 1 0 1086 0 1 -275
box -109 -112 109 112
<< labels >>
flabel viali 954 -152 954 -152 0 FreeSans 80 0 0 0 SWITCHING
port 2 nsew
flabel metal2 s 866 -275 866 -275 0 FreeSans 80 0 0 0 VBOOT
port 3 nsew
flabel locali s 954 92 954 92 0 FreeSans 320 0 0 0 VPBT3
port 1 nsew
<< end >>

# cell sky130_fd_pr__pfet_01v8_275TTJ: kit device sky130_fd_pr__pfet_01v8, w 0.5 l 0.15 m 1 nf 1 diffcov 100 polycov 100 guard 0 glc 1 grc 1 gtc 1 gbc 1 tbcov 100 rlcov 100 topc 0 botc 0 poverlap 0 doverlap 0 lmin 0.15 wmin 0.42 compatible {sky130_fd_pr__pfet_01v8 sky130_fd_pr__pfet_01v8_lvt sky130_fd_pr__pfet_01v8_hvt sky130_fd_pr__pfet_g5v0d10v5} full_metal 1 viasrc 100 viadrn 100 viagate 100 viagb 0 viagr 0 viagl 0 viagt 0

# cell sky130_fd_pr__nfet_01v8_6J3TAM: kit device sky130_fd_pr__nfet_01v8, w 0.5 l 0.15 m 1 nf 1 diffcov 100 polycov 100 guard 0 glc 1 grc 1 gtc 1 gbc 1 tbcov 100 rlcov 100 topc 0 botc 0 poverlap 0 doverlap 0 lmin 0.15 wmin 0.42 compatible {sky130_fd_pr__nfet_01v8 sky130_fd_pr__nfet_01v8_lvt sky130_fd_bs_flash__special_sonosfet_star sky130_fd_pr__nfet_g5v0d10v5 sky130_fd_pr__nfet_05v0_nvt sky130_fd_pr__nfet_03v3_nvt} full_metal 1 viasrc 100 viadrn 100 viagate 100 viagb 0 viagr 0 viagl 0 viagt 0

# cell sky130_fd_pr__nfet_01v8_QS6TK8: kit device sky130_fd_pr__nfet_01v8, w 0.5 l 0.3 m 1 nf 1 diffcov 100 polycov 100 guard 0 glc 1 grc 1 gtc 1 gbc 1 tbcov 100 rlcov 100 topc 0 botc 0 poverlap 0 doverlap 0 lmin 0.15 wmin 0.42 compatible {sky130_fd_pr__nfet_01v8 sky130_fd_pr__nfet_01v8_lvt sky130_fd_bs_flash__special_sonosfet_star sky130_fd_pr__nfet_g5v0d10v5 sky130_fd_pr__nfet_05v0_nvt sky130_fd_pr__nfet_03v3_nvt} full_metal 1 viasrc 100 viadrn 100 viagate 100 viagb 0 viagr 0 viagl 0 viagt 0

# cell sky130_fd_pr__cap_mim_m3_1_UCPR8Z: kit device sky130_fd_pr__cap_mim_m3_1, w 2.0 l 2.0 val 9.52 carea 2.00 cperi 0.19 nx 1 ny 1 dummy 0 square 1 lmin 2.00 wmin 2.00 lmax 30.0 wmax 30.0 dc 0 bconnect 0 tconnect 0 ccov 100

# cell sky130_fd_pr__cap_mim_m3_1_VCTT89: kit device sky130_fd_pr__cap_mim_m3_1, w 2.0 l 2.0 val 9.52 carea 2.00 cperi 0.19 nx 1 ny 1 dummy 0 square 0 lmin 2.00 wmin 2.00 lmax 30.0 wmax 30.0 dc 0 bconnect 1 tconnect 1 ccov 100
